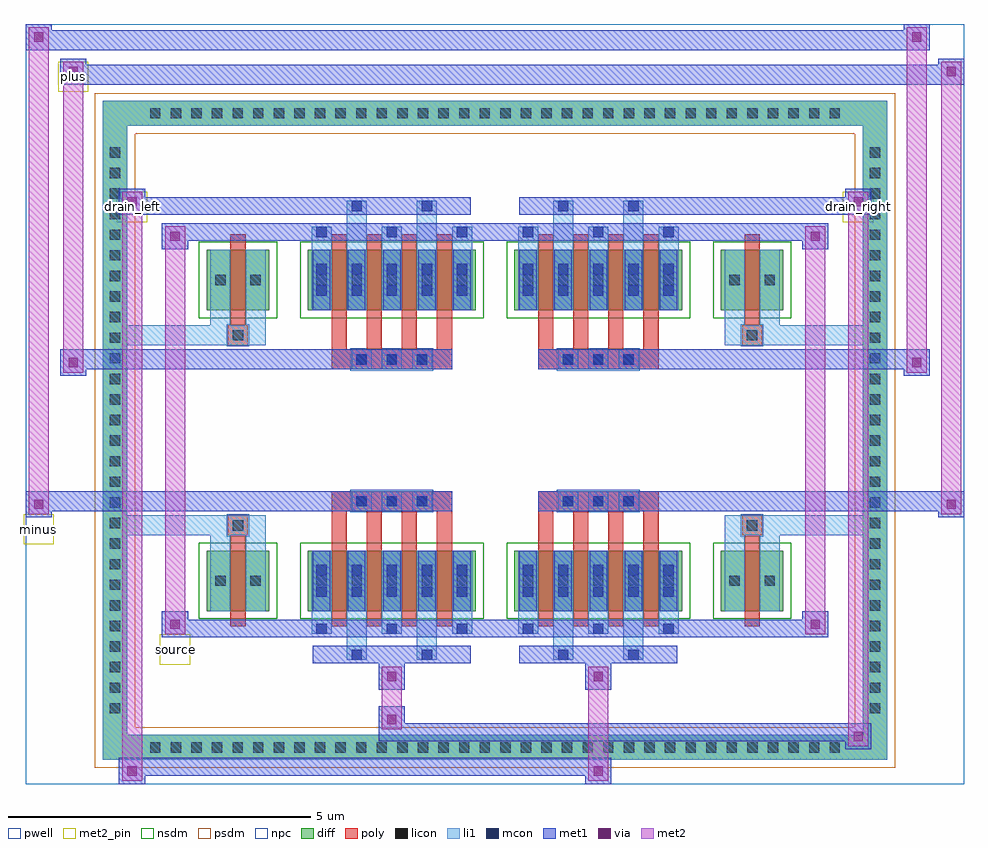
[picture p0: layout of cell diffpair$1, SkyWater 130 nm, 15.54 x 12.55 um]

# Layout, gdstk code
import gdstk
lib = gdstk.Library(unit=1e-6, precision=5e-09)
def R(c, l, rs):  # rectangles x0, y0, x1, y1
    for r in rs: c.add(gdstk.rectangle(r[:2], r[2:], *l))
def A(c, l, x, y, w, h, nx, ny, dx, dy):  # array of equal rectangles
    R(c, l, [(x+i*dx, y+j*dy, x+i*dx+w, y+j*dy+h) for i in range(nx) for j in range(ny)])
def P(c, l, *ps):  # polygons
    for p in ps: c.add(gdstk.Polygon(p, *l))
pwell = (64, 44)
diff = (65, 20)
poly = (66, 20)
licon = (66, 44)
li1 = (67, 20)
mcon = (67, 44)
met1 = (68, 20)
via = (68, 44)
met2_pin = (69, 16)
met2 = (69, 20)
nsdm = (93, 44)
psdm = (94, 20)
npc = (95, 20)

diffpair_1 = lib.new_cell('diffpair$1')
R(diffpair_1, pwell, [(-7.75,-5.84,7.75,6.71), (-5.07,-4.03,-0.01,-0.805), (0.01,-4.03,5.07,-0.805), (-5.07,0.805,-0.01,4.03), (0.01,0.805,5.07,4.03)])
A(diffpair_1, diff, -5.815, -5.44, 0.41, 0.41, 34, 2, 0.34, 10.47)
A(diffpair_1, diff, -6.48, -4.795, 0.41, 0.41, 1, 28, 0, 0.34)
A(diffpair_1, diff, 6.07, -4.795, 0.41, 0.41, 1, 28, 0, 0.34)
R(diffpair_1, diff, [(-5.815,-5.44,5.815,-5.03), (-6.48,-4.795,-6.07,4.795), (6.07,-4.795,6.48,4.795), (-4.76,-2.985,-3.73,-1.985), (-3.09,-2.985,-0.32,-1.985), (0.32,-2.985,3.09,-1.985), (3.73,-2.985,4.76,-1.985), (-4.76,1.985,-3.73,2.985), (-3.09,1.985,-0.32,2.985), (0.32,1.985,3.09,2.985), (3.73,1.985,4.76,2.985), (-5.815,5.03,5.815,5.44)])
P(diffpair_1, diff, [(6.48,5.44),(-6.48,5.44),(-6.48,-5.03),(-6.07,-5.03),(-6.07,5.03),(6.07,5.03),(6.07,-5.03),(-6.07,-5.03),(-6.48,-5.03),(-6.48,-5.44),(6.48,-5.44)])
A(diffpair_1, poly, -2.7, -3.235, 0.25, 1.5, 4, 2, 0.58, 4.97)
A(diffpair_1, poly, 0.71, -3.235, 0.25, 1.5, 4, 2, 0.58, 4.97)
A(diffpair_1, poly, -2.7, -1.735, 0.25, 0.4, 4, 2, 0.58, 3.07)
A(diffpair_1, poly, 0.71, -1.735, 0.25, 0.4, 4, 2, 0.58, 3.07)
A(diffpair_1, poly, -2.37, -1.335, 0.33, 0.33, 3, 2, 0.5, 2.34)
A(diffpair_1, poly, 1.04, -1.335, 0.33, 0.33, 3, 2, 0.5, 2.34)
R(diffpair_1, poly, [(-4.37,-3.235,-4.12,-1.735), (4.12,-3.235,4.37,-1.735), (-4.41,-1.735,-4.08,-1.405), (-4.41,-1.735,-4.08,-1.405), (4.08,-1.735,4.41,-1.405), (4.08,-1.735,4.41,-1.405), (-2.7,-1.335,-0.71,-1.005), (0.71,-1.335,2.7,-1.005), (-2.7,1.005,-0.71,1.335), (0.71,1.005,2.7,1.335), (-4.41,1.405,-4.08,1.735), (-4.41,1.405,-4.08,1.735), (4.08,1.405,4.41,1.735), (4.08,1.405,4.41,1.735), (-4.37,1.735,-4.12,3.235), (4.12,1.735,4.37,3.235)])
A(diffpair_1, licon, -5.695, -5.32, 0.17, 0.17, 34, 2, 0.34, 10.47)
A(diffpair_1, licon, -6.36, -4.675, 0.17, 0.17, 1, 28, 0, 0.34)
A(diffpair_1, licon, 6.19, -4.675, 0.17, 0.17, 1, 28, 0, 0.34)
A(diffpair_1, licon, -2.95, -2.57, 0.17, 0.17, 5, 2, 0.58, 4.97)
A(diffpair_1, licon, 0.46, -2.57, 0.17, 0.17, 5, 2, 0.58, 4.97)
A(diffpair_1, licon, -2.29, -1.255, 0.17, 0.17, 3, 2, 0.5, 2.34)
A(diffpair_1, licon, 1.12, -1.255, 0.17, 0.17, 3, 2, 0.5, 2.34)
R(diffpair_1, licon, [(-4.62,-2.57,-4.45,-2.4), (-4.04,-2.57,-3.87,-2.4), (3.87,-2.57,4.04,-2.4), (4.45,-2.57,4.62,-2.4), (-4.33,-1.655,-4.16,-1.485), (4.16,-1.655,4.33,-1.485), (-4.33,1.485,-4.16,1.655), (4.16,1.485,4.33,1.655), (-4.62,2.4,-4.45,2.57), (-4.04,2.4,-3.87,2.57), (3.87,2.4,4.04,2.57), (4.45,2.4,4.62,2.57)])
A(diffpair_1, li1, -5.775, -5.4, 0.33, 0.33, 34, 2, 0.34, 10.47)
A(diffpair_1, li1, -6.44, -4.755, 0.33, 0.33, 1, 28, 0, 0.34)
A(diffpair_1, li1, 6.11, -4.755, 0.33, 0.33, 1, 28, 0, 0.34)
A(diffpair_1, li1, -3.03, -3.36, 0.33, 0.375, 3, 2, 1.16, 6.345)
A(diffpair_1, li1, -2.95, -3.36, 0.17, 0.17, 3, 2, 1.16, 6.55)
A(diffpair_1, li1, 0.38, -3.36, 0.33, 0.375, 3, 2, 1.16, 6.345)
A(diffpair_1, li1, 0.46, -3.36, 0.17, 0.17, 3, 2, 1.16, 6.55)
A(diffpair_1, li1, -3.03, -2.985, 0.33, 1, 5, 2, 0.58, 4.97)
A(diffpair_1, li1, 0.38, -2.985, 0.33, 1, 5, 2, 0.58, 4.97)
A(diffpair_1, li1, -2.95, -2.75, 0.17, 0.17, 5, 2, 0.58, 0.36)
A(diffpair_1, li1, -2.95, -2.75, 0.17, 0.53, 5, 2, 0.58, 4.97)
A(diffpair_1, li1, 0.46, -2.75, 0.17, 0.17, 5, 2, 0.58, 0.36)
A(diffpair_1, li1, 0.46, -2.75, 0.17, 0.53, 5, 2, 0.58, 4.97)
A(diffpair_1, li1, -3.03, -2.65, 0.33, 0.33, 5, 2, 0.58, 4.97)
A(diffpair_1, li1, 0.38, -2.65, 0.33, 0.33, 5, 2, 0.58, 4.97)
A(diffpair_1, li1, -2.37, -1.335, 0.33, 0.33, 3, 2, 0.5, 2.34)
A(diffpair_1, li1, 1.04, -1.335, 0.33, 0.33, 3, 2, 0.5, 2.34)
A(diffpair_1, li1, -2.95, 2.22, 0.17, 0.17, 5, 2, 0.58, 0.36)
A(diffpair_1, li1, 0.46, 2.22, 0.17, 0.17, 5, 2, 0.58, 0.36)
R(diffpair_1, li1, [(-6.48,-5.44,-6.07,-5.03), (-6.48,-5.44,-6.07,-5.03), (-6.07,-5.44,6.07,-5.03), (6.07,-5.44,6.48,-5.03), (6.07,-5.44,6.48,-5.03), (-6.48,-5.03,-6.07,5.03), (6.07,-5.03,6.48,5.03), (-2.45,-3.79,-2.12,-2.985), (-2.37,-3.79,-2.2,-3.62), (-1.29,-3.79,-0.96,-2.985), (-1.21,-3.79,-1.04,-3.62), (0.96,-3.79,1.29,-2.985), (1.04,-3.79,1.21,-3.62), (2.12,-3.79,2.45,-2.985), (2.2,-3.79,2.37,-3.62), (-4.7,-2.985,-4.37,-1.985), (-4.12,-2.985,-3.79,-1.985), (3.79,-2.985,4.12,-1.985), (4.37,-2.985,4.7,-1.985), (-4.7,-2.65,-4.37,-2.32), (-4.12,-2.65,-3.79,-2.32), (3.79,-2.65,4.12,-2.32), (4.37,-2.65,4.7,-2.32), (-4.7,-1.985,-4.37,-1.405), (-4.12,-1.985,-3.79,-1.405), (3.79,-1.985,4.12,-1.405), (4.37,-1.985,4.7,-1.405), (-6.48,-1.735,-4.41,-1.405), (-4.7,-1.735,-4.41,-1.405), (-4.41,-1.735,-4.08,-1.405), (-4.08,-1.735,-3.79,-1.405), (3.79,-1.735,4.08,-1.405), (4.08,-1.735,4.41,-1.405), (4.08,-1.735,6.48,-1.405), (4.41,-1.735,4.7,-1.405), (-6.48,1.405,-4.41,1.735), (-4.7,1.405,-4.41,1.735), (-4.7,1.405,-4.37,1.985), (-4.41,1.405,-4.08,1.735), (-4.12,1.405,-3.79,1.985), (-4.08,1.405,-3.79,1.735), (3.79,1.405,4.08,1.735), (3.79,1.405,4.12,1.985), (4.08,1.405,4.41,1.735), (4.08,1.405,6.48,1.735), (4.37,1.405,4.7,1.985), (4.41,1.405,4.7,1.735), (-4.7,1.985,-4.37,2.985), (-4.12,1.985,-3.79,2.985), (3.79,1.985,4.12,2.985), (4.37,1.985,4.7,2.985), (-4.7,2.32,-4.37,2.65), (-4.12,2.32,-3.79,2.65), (3.79,2.32,4.12,2.65), (4.37,2.32,4.7,2.65), (-2.45,2.985,-2.12,3.79), (-1.29,2.985,-0.96,3.79), (0.96,2.985,1.29,3.79), (2.12,2.985,2.45,3.79), (-2.37,3.62,-2.2,3.79), (-1.21,3.62,-1.04,3.79), (1.04,3.62,1.21,3.79), (2.2,3.62,2.37,3.79), (-6.48,5.03,-6.07,5.44), (-6.48,5.03,-6.07,5.44), (-6.07,5.03,6.07,5.44), (6.07,5.03,6.48,5.44), (6.07,5.03,6.48,5.44)])
A(diffpair_1, mcon, -2.95, -3.36, 0.17, 0.17, 3, 2, 1.16, 6.55)
A(diffpair_1, mcon, 0.46, -3.36, 0.17, 0.17, 3, 2, 1.16, 6.55)
A(diffpair_1, mcon, -2.95, -2.75, 0.17, 0.17, 5, 2, 0.58, 0.36)
A(diffpair_1, mcon, 0.46, -2.75, 0.17, 0.17, 5, 2, 0.58, 0.36)
A(diffpair_1, mcon, -2.29, -1.255, 0.17, 0.17, 3, 2, 0.5, 2.34)
A(diffpair_1, mcon, 1.12, -1.255, 0.17, 0.17, 3, 2, 0.5, 2.34)
A(diffpair_1, mcon, -2.95, 2.22, 0.17, 0.17, 5, 2, 0.58, 0.36)
A(diffpair_1, mcon, 0.46, 2.22, 0.17, 0.17, 5, 2, 0.58, 0.36)
R(diffpair_1, mcon, [(-2.37,-3.79,-2.2,-3.62), (-1.21,-3.79,-1.04,-3.62), (1.04,-3.79,1.21,-3.62), (2.2,-3.79,2.37,-3.62), (-2.37,3.62,-2.2,3.79), (-1.21,3.62,-1.04,3.79), (1.04,3.62,1.21,3.79), (2.2,3.62,2.37,3.79)])
A(diffpair_1, met1, -3.01, -3.42, 0.29, 0.29, 3, 2, 1.16, 6.55)
A(diffpair_1, met1, 0.4, -3.42, 0.29, 0.29, 3, 2, 1.16, 6.55)
A(diffpair_1, met1, -3.01, -2.985, 0.29, 1, 5, 2, 0.58, 4.97)
A(diffpair_1, met1, 0.4, -2.985, 0.29, 1, 5, 2, 0.58, 4.97)
A(diffpair_1, met1, -3.01, -2.81, 0.29, 0.29, 5, 2, 0.58, 0.36)
A(diffpair_1, met1, 0.4, -2.81, 0.29, 0.29, 5, 2, 0.58, 0.36)
A(diffpair_1, met1, -2.35, -1.315, 0.29, 0.29, 3, 2, 0.5, 2.34)
A(diffpair_1, met1, 1.06, -1.315, 0.29, 0.29, 3, 2, 0.5, 2.34)
A(diffpair_1, met1, -3.01, 2.16, 0.29, 0.29, 5, 2, 0.58, 0.36)
A(diffpair_1, met1, 0.4, 2.16, 0.29, 0.29, 5, 2, 0.58, 0.36)
R(diffpair_1, met1, [(-6.21,-5.84,-5.78,-5.41), (1.49,-5.84,1.92,-5.41), (-6.21,-5.7,1.92,-5.41), (5.78,-5.27,6.21,-4.84), (-1.92,-5.13,6.21,-4.84), (-1.92,-4.99,-1.49,-4.56), (-1.92,-4.28,-1.49,-3.85), (1.49,-4.28,1.92,-3.85), (-3.01,-3.85,-0.4,-3.56), (-2.43,-3.85,-2.14,-3.56), (-1.27,-3.85,-0.98,-3.56), (0.4,-3.85,3.01,-3.56), (0.98,-3.85,1.27,-3.56), (2.14,-3.85,2.43,-3.56), (-5.5,-3.42,-5.07,-2.99), (-5.5,-3.42,-3.01,-3.13), (-3.01,-3.42,-0.4,-3.13), (-0.4,-3.42,0.4,-3.13), (0.4,-3.42,3.01,-3.13), (3.01,-3.42,5.5,-3.13), (5.07,-3.42,5.5,-2.99), (-7.75,-1.435,-7.32,-1.005), (7.32,-1.435,7.75,-1.005), (-7.75,-1.335,-0.71,-1.005), (-2.7,-1.335,-0.71,-1.005), (0.71,-1.335,2.7,-1.005), (0.71,-1.335,7.75,-1.005), (-7.18,0.905,-6.75,1.335), (6.75,0.905,7.18,1.335), (-7.18,1.005,-2.7,1.335), (-2.7,1.005,-0.71,1.335), (0.71,1.005,2.7,1.335), (2.7,1.005,7.18,1.335), (-5.5,2.99,-5.07,3.42), (5.07,2.99,5.5,3.42), (-5.5,3.13,-3.01,3.42), (-3.01,3.13,-0.4,3.42), (-0.4,3.13,0.4,3.42), (0.4,3.13,3.01,3.42), (3.01,3.13,5.5,3.42), (-6.21,3.56,-5.78,3.99), (-6.21,3.56,-3.01,3.85), (-3.01,3.56,-0.4,3.85), (-2.43,3.56,-2.14,3.85), (-1.27,3.56,-0.98,3.85), (0.4,3.56,3.01,3.85), (0.98,3.56,1.27,3.85), (2.14,3.56,2.43,3.85), (3.01,3.56,6.21,3.85), (5.78,3.56,6.21,3.99), (-7.18,5.71,-6.75,6.14), (-7.18,5.71,-5.07,6.04), (-5.07,5.71,5.07,6.04), (5.07,5.71,7.75,6.04), (7.32,5.71,7.75,6.14), (-7.75,6.28,-7.32,6.71), (-7.75,6.28,-5.07,6.61), (-5.07,6.28,5.07,6.61), (5.07,6.28,7.18,6.61), (6.75,6.28,7.18,6.71)])
R(diffpair_1, via, [(-6.07,-5.7,-5.92,-5.55), (1.63,-5.7,1.78,-5.55), (5.92,-5.13,6.07,-4.98), (-1.78,-4.85,-1.63,-4.7), (-1.78,-4.14,-1.63,-3.99), (1.63,-4.14,1.78,-3.99), (-5.36,-3.28,-5.21,-3.13), (5.21,-3.28,5.36,-3.13), (-7.61,-1.295,-7.46,-1.145), (7.46,-1.295,7.61,-1.145), (-7.04,1.045,-6.89,1.195), (6.89,1.045,7.04,1.195), (-5.36,3.13,-5.21,3.28), (5.21,3.13,5.36,3.28), (-6.07,3.7,-5.92,3.85), (5.92,3.7,6.07,3.85), (-7.04,5.85,-6.89,6), (7.46,5.85,7.61,6), (-7.61,6.42,-7.46,6.57), (6.89,6.42,7.04,6.57)])
R(diffpair_1, met2_pin, [(-5.535,-3.87,-5.035,-3.37), (-7.785,-1.885,-7.285,-1.385), (-6.245,3.44,-5.745,3.94), (5.745,3.44,6.245,3.94), (-7.215,5.59,-6.715,6.09)])
R(diffpair_1, met2, [(-6.16,-5.79,-5.83,-5.46), (-6.16,-5.79,-5.83,3.94), (1.54,-5.79,1.87,-5.46), (1.54,-5.46,1.87,-4.23), (5.83,-5.22,6.16,-4.89), (5.83,-5.22,6.16,3.94), (-1.87,-4.94,-1.54,-4.61), (-1.87,-4.61,-1.54,-4.23), (-1.87,-4.23,-1.54,-3.9), (1.54,-4.23,1.87,-3.9), (-5.45,-3.37,-5.12,-3.04), (-5.45,-3.37,-5.12,3.37), (5.12,-3.37,5.45,-3.04), (5.12,-3.37,5.45,3.37), (-7.7,-1.385,-7.37,-1.055), (-7.7,-1.385,-7.37,6.66), (7.37,-1.385,7.7,-1.055), (7.37,-1.385,7.7,6.09), (-7.13,0.955,-6.8,1.285), (-7.13,0.955,-6.8,6.09), (6.8,0.955,7.13,1.285), (6.8,0.955,7.13,6.66), (-5.45,3.04,-5.12,3.37), (5.12,3.04,5.45,3.37), (-6.16,3.61,-5.83,3.94), (5.83,3.61,6.16,3.94), (-7.13,5.76,-6.8,6.09), (7.37,5.76,7.7,6.09), (-7.7,6.33,-7.37,6.66), (6.8,6.33,7.13,6.66)])
P(diffpair_1, met2, [(7.7,-1.385),(7.7,-1.385),(7.7,-1.055),(7.7,-1.055)],
  [(7.7,5.76),(7.7,5.76),(7.7,6.09),(7.7,6.09)],
  [(-7.37,-1.385),(-7.37,-1.385),(-7.37,-1.055),(-7.37,-1.055)],
  [(-7.37,6.33),(-7.37,6.33),(-7.37,6.66),(-7.37,6.66)],
  [(7.13,0.955),(7.13,0.955),(7.13,1.285),(7.13,1.285)],
  [(7.13,6.33),(7.13,6.33),(7.13,6.66),(7.13,6.66)],
  [(-6.8,0.955),(-6.8,0.955),(-6.8,1.285),(-6.8,1.285)],
  [(-6.8,5.76),(-6.8,5.76),(-6.8,6.09),(-6.8,6.09)],
  [(-5.83,-5.79),(-5.83,-5.79),(-5.83,-5.46),(-5.83,-5.46)],
  [(-5.83,3.61),(-5.83,3.61),(-5.83,3.94),(-5.83,3.94)],
  [(6.16,-5.22),(6.16,-5.22),(6.16,-4.89),(6.16,-4.89)],
  [(6.16,3.61),(6.16,3.61),(6.16,3.94),(6.16,3.94)],
  [(-5.12,-3.37),(-5.12,-3.37),(-5.12,-3.04),(-5.12,-3.04)],
  [(-5.12,3.04),(-5.12,3.04),(-5.12,3.37),(-5.12,3.37)],
  [(5.45,-3.37),(5.45,-3.37),(5.45,-3.04),(5.45,-3.04)],
  [(5.45,3.04),(5.45,3.04),(5.45,3.37),(5.45,3.37)])
R(diffpair_1, nsdm, [(-4.89,-3.115,-3.6,-1.855), (-3.22,-3.115,-0.19,-1.855), (0.19,-3.115,3.22,-1.855), (3.6,-3.115,4.89,-1.855), (-4.89,1.855,-3.6,3.115), (-3.22,1.855,-0.19,3.115), (0.19,1.855,3.22,3.115), (3.6,1.855,4.89,3.115)])
P(diffpair_1, psdm, [(6.61,5.57),(-6.61,5.57),(-6.61,-4.9),(-5.94,-4.9),(-5.94,4.9),(5.94,4.9),(5.94,-4.9),(-5.94,-4.9),(-6.61,-4.9),(-6.61,-5.57),(6.61,-5.57)])
A(diffpair_1, npc, -2.39, -1.355, 0.37, 0.37, 3, 2, 0.5, 2.34)
A(diffpair_1, npc, 1.02, -1.355, 0.37, 0.37, 3, 2, 0.5, 2.34)
R(diffpair_1, npc, [(-4.43,-1.755,-4.06,-1.385), (4.06,-1.755,4.43,-1.385), (-2.39,-1.355,-1.52,-0.985), (-2.39,-1.355,-1.52,-0.985), (-1.89,-1.355,-1.02,-0.985), (-1.89,-1.355,-1.02,-0.985), (1.02,-1.355,1.89,-0.985), (1.02,-1.355,1.89,-0.985), (1.52,-1.355,2.39,-0.985), (1.52,-1.355,2.39,-0.985), (-2.39,0.985,-1.52,1.355), (-2.39,0.985,-1.52,1.355), (-1.89,0.985,-1.02,1.355), (-1.89,0.985,-1.02,1.355), (1.02,0.985,1.89,1.355), (1.02,0.985,1.89,1.355), (1.52,0.985,2.39,1.355), (1.52,0.985,2.39,1.355), (-4.43,1.385,-4.06,1.755), (4.06,1.385,4.43,1.755)])
diffpair_1.add(gdstk.Label('minus', (-7.535,-1.635), layer=69, texttype=5))
diffpair_1.add(gdstk.Label('drain_right', (5.995,3.69), layer=69, texttype=5))
diffpair_1.add(gdstk.Label('drain_left', (-5.995,3.69), layer=69, texttype=5))
diffpair_1.add(gdstk.Label('source', (-5.285,-3.62), layer=69, texttype=5))
diffpair_1.add(gdstk.Label('plus', (-6.965,5.84), layer=69, texttype=5))

lib.write_gds('diffpair_1.gds')
